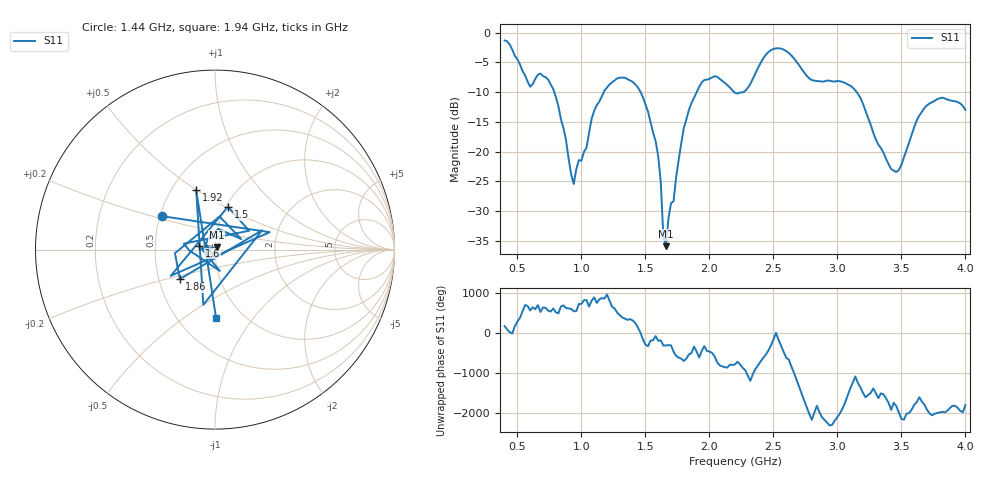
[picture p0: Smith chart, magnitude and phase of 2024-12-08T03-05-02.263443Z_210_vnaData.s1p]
!Created with skrf (http://scikit-rf.org).
# Hz S RI R 50.0
!freq ReS11 ImS11
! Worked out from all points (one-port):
!   181 points, 400 MHz to 4 GHz, reference 50 ohm
!   lowest |S11| = -35.9 dB at 1.66 GHz (marker M1), VSWR 1.03, Z = 51 + j1.23 ohm
!   |S11| at or under -10 dB: 787.8 MHz to 1.175 GHz (387.2 MHz wide, 39.5 % of centre); 1.462 GHz to 1.901 GHz (438.7 MHz wide, 26.1 % of centre); 3.15 GHz to end of sweep (the widest 3 of 4)
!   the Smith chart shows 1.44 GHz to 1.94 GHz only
!   S11 on the Smith chart (normalised r, x): 1.44 GHz: 0.51, +0.22; 1.5 GHz: 1.02, +0.52; 1.6 GHz: 0.84, +0.04; 1.86 GHz: 0.64, -0.23; 1.92 GHz: 0.66, +0.50; 1.94 GHz: 0.75, -0.67
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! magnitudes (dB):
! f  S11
! 400 MHz  -1.3
! 600 MHz  -9.1
! 740 MHz  -7.9
! 860 MHz  -16.1
! 940 MHz  -25.5
! 1.1 GHz  -13.1
! 1.3 GHz  -7.6
! 1.44 GHz  -9.2
! 1.5 GHz  -12.1
! 1.6 GHz  -20.8
! 1.62 GHz  -25.2
! 1.64 GHz  -34.2
! 1.66 GHz  -35.9
! 1.76 GHz  -21.4
! 1.86 GHz  -11.8
! 1.92 GHz  -9.1
! 1.94 GHz  -8.4
! 2.06 GHz  -7.4
! 2.2 GHz  -10.1
! 2.48 GHz  -3.0
! 2.66 GHz  -4.3
! 2.8 GHz  -8.0
! 3.1 GHz  -8.9
! 3.42 GHz  -22.9
! 3.48 GHz  -23.1
! 3.56 GHz  -18.5
! 3.72 GHz  -11.9
! 4 GHz  -13.0
